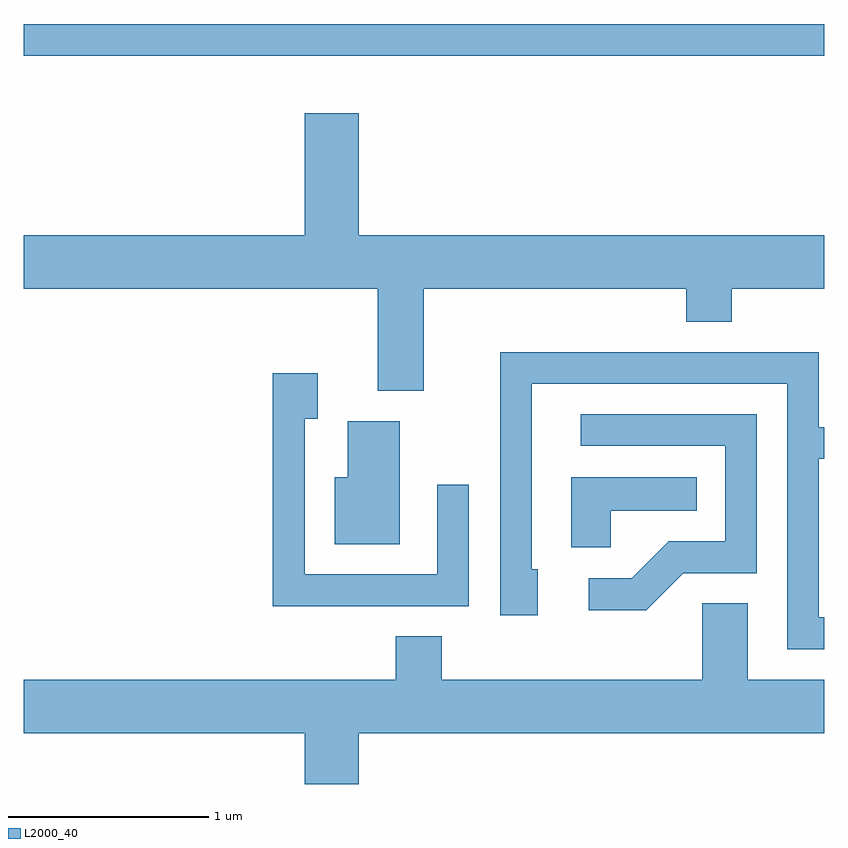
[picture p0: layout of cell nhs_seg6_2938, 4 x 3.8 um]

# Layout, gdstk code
import gdstk
lib = gdstk.Library(unit=1e-6, precision=1e-09)
def R(c, l, rs):  # rectangles x0, y0, x1, y1
    for r in rs: c.add(gdstk.rectangle(r[:2], r[2:], *l))
def P(c, l, *ps):  # polygons
    for p in ps: c.add(gdstk.Polygon(p, *l))
L2000_40 = (2000, 40)

nhs_seg6_2938 = lib.new_cell('nhs_seg6_2938')
R(nhs_seg6_2938, L2000_40, [(273.611,1617.801,277.611,1617.959)])
P(nhs_seg6_2938, L2000_40, [(275.609,1616.636),(276.921,1616.636),(276.921,1616.471),(277.149,1616.471),(277.149,1616.636),(277.611,1616.636),(277.611,1616.904),(275.284,1616.904),(275.284,1617.514),(275.016,1617.514),(275.016,1616.904),(273.611,1616.904),(273.611,1616.636),(275.381,1616.636),(275.381,1616.126),(275.609,1616.126)],
  [(277.611,1614.994),(277.584,1614.994),(277.584,1615.786),(277.611,1615.786),(277.611,1615.944),(277.584,1615.944),(277.584,1616.319),(275.991,1616.319),(275.991,1615.006),(276.179,1615.006),(276.179,1615.234),(276.149,1615.234),(276.149,1616.161),(277.426,1616.161),(277.426,1614.836),(277.611,1614.836)],
  [(275.834,1615.658),(275.676,1615.658),(275.676,1615.209),(275.014,1615.209),(275.014,1615.986),(275.079,1615.986),(275.079,1616.214),(274.856,1616.214),(274.856,1615.051),(275.834,1615.051)],
  [(276.907,1615.216),(277.274,1615.216),(277.274,1616.009),(276.393,1616.009),(276.393,1615.851),(277.116,1615.851),(277.116,1615.374),(276.834,1615.374),(276.649,1615.189),(276.433,1615.189),(276.433,1615.031),(276.722,1615.031)],
  [(275.489,1615.974),(275.231,1615.974),(275.231,1615.694),(275.166,1615.694),(275.166,1615.361),(275.489,1615.361)],
  [(276.544,1615.526),(276.973,1615.526),(276.973,1615.694),(276.346,1615.694),(276.346,1615.346),(276.544,1615.346)],
  [(275.284,1614.416),(277.611,1614.416),(277.611,1614.684),(277.229,1614.684),(277.229,1615.064),(277.001,1615.064),(277.001,1614.684),(275.699,1614.684),(275.699,1614.899),(275.471,1614.899),(275.471,1614.684),(273.611,1614.684),(273.611,1614.416),(275.016,1614.416),(275.016,1614.162),(275.284,1614.162)])

lib.write_gds('nhs_seg6_2938.gds')
